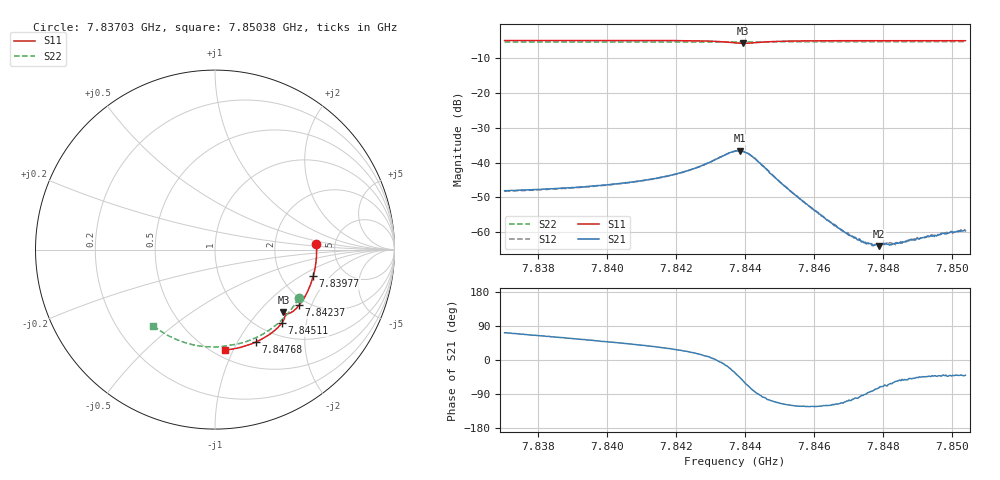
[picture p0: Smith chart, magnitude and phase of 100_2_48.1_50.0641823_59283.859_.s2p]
#  HZ  S  RI  R  50.00
! Rohde & Schwarz Vector Network Analyzer
! Rohde-Schwarz,ZNB20-2Port,1311601062101988,3.16
! Created: UTC 12/23/2023, 3:44:40 AM
! freq[Hz]  re:S11  im:S11  re:S21  im:S21  re:S12  im:S12  re:S22  im:S22
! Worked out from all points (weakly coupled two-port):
!   401 points, 7.83703 GHz to 7.85038 GHz, reference 50 ohm
!   highest |S21| = -36.56 dB at 7.84384 GHz (marker M1); lowest = -63.9 dB at 7.84788 GHz (marker M2)
!   lowest |S11| = -5.7 dB at 7.84394 GHz (marker M3), VSWR 3.13, Z = 72.8 - j69 ohm
!   |S11| at or under -10 dB: nowhere
!   |S22| runs from -5.4 to -5.2 dB; largest |S21 - S12| = 0.00023
!   S11 on the Smith chart (normalised r, x): 7.83703 GHz: 3.57, +0.35; 7.83977 GHz: 2.99, -1.30; 7.84237 GHz: 1.81, -1.64; 7.84511 GHz: 1.24, -1.46; 7.84768 GHz: 0.80, -1.20; 7.85038 GHz: 0.57, -0.93
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7.837028e9  0.5653 0.0336  0.00124 0.00376  0.00124 0.00366  0.466 -0.2718
7.839265e9  0.5552 -0.1147  0.0026 0.00366  0.00261 0.00364  0.3693 -0.3946
7.839766e9  0.5473 -0.1474  0.003 0.00359  0.00297 0.00356  0.3429 -0.4181
7.841503e9  0.5036 -0.2576  0.00506 0.00338  0.005 0.00337  0.2413 -0.4846
7.842371e9  0.4693 -0.3099  0.00723 0.00285  0.00722 0.00284  0.185 -0.5088
7.843239e9  0.4178 -0.3534  0.0117 -0.000774  0.0117 -0.000552  0.1264 -0.5254
7.843706e9  0.385 -0.3545  0.0121 -0.00814  0.0121 -0.00807  0.0951 -0.5308
7.84384e9  0.381 -0.3506  0.0104 -0.0106  0.0103 -0.0106  0.0865 -0.5317
7.84394e9  0.381 -0.3479  0.00825 -0.0118  0.00834 -0.0119  0.0804 -0.5332
7.844274e9  0.3893 -0.3538  0.00132 -0.0115  0.00152 -0.0116  0.0588 -0.5372
7.845109e9  0.3727 -0.4087  -0.0021 -0.00428  -0.0021 -0.00429  0.000566 -0.5427
7.845943e9  0.331 -0.4518  -0.00116 -0.00183  -0.00121 -0.00187  -0.0584 -0.5405
7.846812e9  0.2817 -0.4864  -0.00043 -0.000989  -0.000405 -0.000966  -0.1187 -0.5312
7.847012e9  0.2699 -0.4934  -0.000243 -0.000866  -0.000258 -0.000897  -0.1325 -0.528
7.847346e9  0.25 -0.5041  -7.59e-05 -0.000758  -7.82e-05 -0.00075  -0.1553 -0.522
7.84768e9  0.2297 -0.5139  9.42e-05 -0.000637  0.000102 -0.000668  -0.1774 -0.515
7.84788e9  0.2172 -0.5192  0.000181 -0.000608  0.000202 -0.000636  -0.1908 -0.5106
7.848181e9  0.1985 -0.5269  0.00029 -0.000585  0.000295 -0.000644  -0.2103 -0.5027
7.848348e9  0.1881 -0.5306  0.000381 -0.000589  0.000348 -0.000564  -0.2211 -0.4983
7.849349e9  0.1239 -0.5491  0.00064 -0.000587  0.000672 -0.000613  -0.2836 -0.4664
7.84995e9  0.0846 -0.5563  0.000769 -0.00066  0.000759 -0.00066  -0.319 -0.4433
7.850384e9  0.0558 -0.5596  0.000799 -0.000676  0.00082 -0.000731  -0.3434 -0.4248
